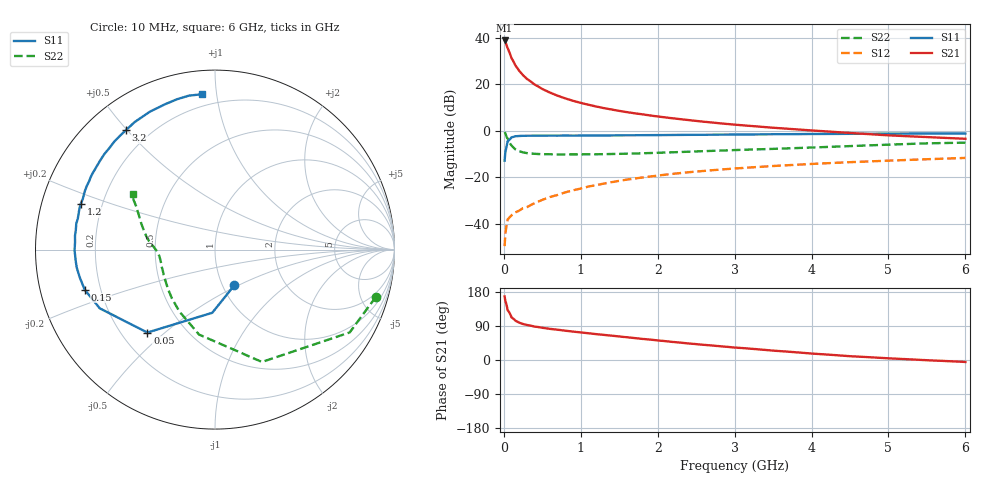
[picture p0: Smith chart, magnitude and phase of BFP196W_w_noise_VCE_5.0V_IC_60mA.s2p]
! (c) 2017  Infineon Technologies AG, Munich
! Infineon Technologies  Discrete & RF Semiconductors
! BFP196W
! VCE =  5.0 V,  IC =  60 mA
! Common Emitter S-Parameters:  Jan 2017
# GHz  S  MA  R  50
!  f  S11  S21  S12  S22
! GHz  MAG  ANG  MAG  ANG  MAG  ANG  MAG  ANG
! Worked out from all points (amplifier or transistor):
!   77 points, 10 MHz to 6 GHz, reference 50 ohm
!   highest |S21| = 38.8 dB at 10 MHz (marker M1)
!   |S21| within 3 dB of that: start of sweep to 45.98 MHz
!   unconditionally stable (mu >= 1): 628.2 MHz to 3.265 GHz
!   at 130 MHz: K = 0.47, MSG = 32.5 dB, |S12| = -35.6 dB
!   at 2.2 GHz: K = 1.04, MAG = 10.8 dB, |S12| = -18.5 dB
!   at 6 GHz: K = 0.94, MSG = 4.1 dB, |S12| = -11.7 dB
!   lowest NFmin = 1.47 dB at 450 MHz
!   S11 on the Smith chart (normalised r, x): 10 MHz: 1.14, -0.48; 50 MHz: 0.31, -0.44; 150 MHz: 0.14, -0.15; 1.2 GHz: 0.12, +0.16; 3.2 GHz: 0.12, +0.50; 6 GHz: 0.13, +0.91
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0.01  0.2264 -61.6  86.94 167.8  0.0033 77.1  0.9339 -16.4
0.02  0.3524 -92.5  81.62 155.7  0.0062 71.0  0.8811 -31.6
0.05  0.5965 -129.2  59.22 131.0  0.0124 51.4  0.6785 -67.3
0.1  0.7207 -153.0  36.21 112.3  0.0152 44.1  0.4817 -100.6
0.15  0.7596 -162.9  25.34 103.8  0.0175 43.9  0.3982 -119.8
0.2  0.7696 -168.5  19.3 98.6  0.0192 47.4  0.3628 -131.4
0.25  0.7768 -172.6  15.56 94.9  0.0217 48.8  0.3419 -139.9
0.3  0.7787 -175.4  13 92.4  0.0228 50.9  0.3298 -145.7
0.4  0.7824 -179.7  9.837 88.2  0.0277 55.7  0.3186 -153.7
0.5  0.7808 177.0  7.876 85.0  0.0326 58.5  0.3128 -158.9
0.6  0.7839 174.3  6.586 82.2  0.0376 60.3  0.3122 -162.5
0.7  0.783 172.0  5.639 79.9  0.0417 62.4  0.3092 -165.2
0.9  0.7836 167.3  4.384 74.9  0.0523 63.5  0.3101 -168.9
1.1  0.7893 163.1  3.611 70.6  0.0631 63.9  0.3111 -171.7
1.2  0.7899 161.2  3.31 68.3  0.0677 63.6  0.3116 -173.0
1.6  0.7974 153.6  2.506 60.0  0.089 62.1  0.3203 -177.3
2.1  0.8066 144.3  1.931 49.7  0.1134 58.1  0.3393 178.0
3.1  0.8279 128.2  1.308 31.5  0.1579 49.2  0.3879 169.4
3.2  0.83 126.7  1.269 29.9  0.1619 48.3  0.3925 168.5
4.1  0.8504 114.0  0.988 15.7  0.1964 40.5  0.4408 159.6
5.1  0.8648 103.3  0.781 3.5  0.2303 32.4  0.5079 150.6
6  0.8685 94.9  0.67 -5.2  0.2599 25.4  0.5537 146.0
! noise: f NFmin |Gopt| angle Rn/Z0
0.45  1.47  0.52  -176  0.06
0.9  1.59  0.56  -170  0.07
1.9  2.42  0.69  -149  0.17
2.4  2.81  0.73  -144  0.27
